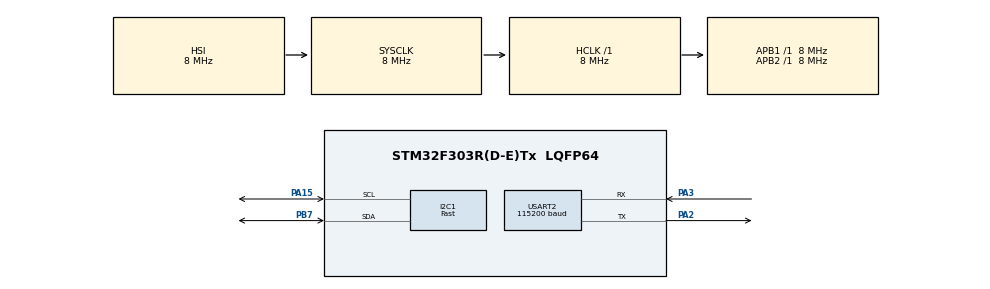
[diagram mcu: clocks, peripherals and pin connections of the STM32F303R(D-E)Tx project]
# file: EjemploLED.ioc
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I2C1.I2C_Speed_Mode=I2C_Fast
I2C1.Timing=0x0000020B
Mcu.Family=STM32F3
Mcu.Name=STM32F303R(D-E)Tx
Mcu.Package=LQFP64
NVIC.PriorityGroup=NVIC_PRIORITYGROUP_4
PA13.Mode=Serial_Wire
PA13.Signal=SYS_JTMS-SWDIO
PA14.Mode=Serial_Wire
PA14.Signal=SYS_JTCK-SWCLK
PA15.Mode=I2C
PA15.Signal=I2C1_SCL
PA2.Mode=Asynchronous
PA2.Signal=USART2_TX
PA3.Mode=Asynchronous
PA3.Signal=USART2_RX
PB7.Mode=I2C
PB7.Signal=I2C1_SDA
ProjectManager.HeapSize=0x200
ProjectManager.StackSize=0x400
ProjectManager.TargetToolchain=STM32CubeIDE
RCC.AHBFreq_Value=8000000
RCC.APB1Freq_Value=8000000
RCC.APB2Freq_Value=8000000
RCC.CortexFreq_Value=8000000
RCC.HSE_VALUE=8000000
RCC.HSI_VALUE=8000000
RCC.LSE_VALUE=32768
RCC.SYSCLKFreq_VALUE=8000000
RCC.USBFreq_Value=16000000
TIM1.Period=400
TIM1.Prescaler=0
USART2.BaudRate=115200
USART2.VirtualMode-Asynchronous=VM_ASYNC
VP_TIM1_VS_ClockSourceINT.Mode=Internal
board=custom

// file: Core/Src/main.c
/* USER CODE BEGIN Header */
/**
  ******************************************************************************
  * @file           : main.c
  * @brief          : Main program body
  ******************************************************************************
  * @attention
  *
  * <h2><center>&copy; Copyright (c) 2020 STMicroelectronics.
  * All rights reserved.</center></h2>
  *
  * This software component is licensed by ST under BSD 3-Clause license,
  * the "License"; You may not use this file except in compliance with the
  * License. You may obtain a copy of the License at:
  *                        opensource.org/licenses/BSD-3-Clause
  *
  ******************************************************************************
  */
/* USER CODE END Header */
#include "main.h"

/* USER CODE BEGIN Includes */
#include "TJ_MPU6050.h"
#include "MadgwickAHRS.h"
/* USER CODE END Includes */

/* USER CODE BEGIN PTD */
typedef struct information2send{
	uint32_t sync;
	float ax;
	float ay;
	float az;
	float gx;
	float gy;
	float gz;
	float q0;
	float q1;
	float q2;
	float q3;
}information2send;
/* USER CODE END PTD */

/* USER CODE BEGIN PD */
#define DATA_SIZE 44
/* USER CODE END PD */

I2C_HandleTypeDef hi2c1;

TIM_HandleTypeDef htim1;

UART_HandleTypeDef huart2;

void SystemClock_Config(void);
static void MX_GPIO_Init(void);
static void MX_TIM1_Init(void);
static void MX_I2C1_Init(void);
static void MX_USART2_UART_Init(void);

/* USER CODE BEGIN 0 */
RawData_Def myAccelRaw, myGyroRaw;
ScaledData_Def myAccelScaled, myGyroScaled;
/* USER CODE END 0 */

int main(void)
{
  /* USER CODE BEGIN 1 */
	MPU_ConfigTypeDef myMpuConfig;
	information2send data2send;
  /* USER CODE END 1 */

  /* MCU Configuration--------------------------------------------------------*/

  /* Reset of all peripherals, Initializes the Flash interface and the Systick. */
  HAL_Init();

  /* Configure the system clock */
  SystemClock_Config();

  /* Initialize all configured peripherals */
  MX_GPIO_Init();
  MX_TIM1_Init();
  MX_I2C1_Init();
  MX_USART2_UART_Init();
  /* USER CODE BEGIN 2 */
	//1. Initialize the MPU6500 module and I2C
	MPU6050_Init(&hi2c1);
	//2. Configure Accel and Gyro parameters
	myMpuConfig.Accel_Full_Scale = AFS_SEL_4g;
	myMpuConfig.ClockSource = Internal_8MHz;
	myMpuConfig.CONFIG_DLPF = DLPF_184A_188G_Hz;
	myMpuConfig.Gyro_Full_Scale = FS_SEL_500;
	myMpuConfig.Sleep_Mode_Bit = 0;  //1: sleep mode, 0: normal mode
	MPU6050_Config(&myMpuConfig);

	//3. Estaban corridos el x e y - Calibracion acelerometro
	_Accel_Cali(900.0, 900.0, -1000.0, -1000.0, 0.0, 0.0);
  /* USER CODE END 2 */

  /* Infinite loop */
  while(1)
  {

    /* USER CODE BEGIN 3 */
	//1. Scaled data adquisition
	MPU6050_Get_Accel_Cali(&myAccelScaled);
	MPU6050_Get_Gyro_Scale(&myGyroScaled);

	//2. Save into structure for send
	data2send.ax = myAccelScaled.x;
	data2send.ay = myAccelScaled.y;
	data2send.az = myAccelScaled.z;

	//3. Adjust gyro data from degree to rad
	data2send.gx = (3.1416)*myGyroScaled.x/180.0;
	data2send.gy = (3.1416)*myGyroScaled.y/180.0;
	data2send.gz = (3.1416)*myGyroScaled.z/180.0;

	//4. Calculate quaternions from measured data
	MadgwickAHRSupdateIMU(data2send.gx,data2send.gy,data2send.gz,
			myAccelScaled.x,myAccelScaled.y,myAccelScaled.z);

	data2send.q0 = q0;
	data2send.q1 = q1;
	data2send.q2 = q2;
	data2send.q3 = q3;

	//5. Send data to PC
	sendData2PC(&data2send);

	//6. Loop delay
	HAL_Delay(5);
  }
  /* USER CODE END 3 */
}

void SystemClock_Config(void)
{
  RCC_OscInitTypeDef RCC_OscInitStruct = {0};
  RCC_ClkInitTypeDef RCC_ClkInitStruct = {0};
  RCC_PeriphCLKInitTypeDef PeriphClkInit = {0};

  /** Initializes the RCC Oscillators according to the specified parameters
  * in the RCC_OscInitTypeDef structure.
  */
  RCC_OscInitStruct.OscillatorType = RCC_OSCILLATORTYPE_HSI;
  RCC_OscInitStruct.HSIState = RCC_HSI_ON;
  RCC_OscInitStruct.HSICalibrationValue = RCC_HSICALIBRATION_DEFAULT;
  RCC_OscInitStruct.PLL.PLLState = RCC_PLL_NONE;
  if (HAL_RCC_OscConfig(&RCC_OscInitStruct) != HAL_OK)
  {
    Error_Handler();
  }
  /** Initializes the CPU, AHB and APB buses clocks
  */
  RCC_ClkInitStruct.ClockType = RCC_CLOCKTYPE_HCLK|RCC_CLOCKTYPE_SYSCLK
                              |RCC_CLOCKTYPE_PCLK1|RCC_CLOCKTYPE_PCLK2;
  RCC_ClkInitStruct.SYSCLKSource = RCC_SYSCLKSOURCE_HSI;
  RCC_ClkInitStruct.AHBCLKDivider = RCC_SYSCLK_DIV1;
  RCC_ClkInitStruct.APB1CLKDivider = RCC_HCLK_DIV1;
  RCC_ClkInitStruct.APB2CLKDivider = RCC_HCLK_DIV1;

  if (HAL_RCC_ClockConfig(&RCC_ClkInitStruct, FLASH_LATENCY_0) != HAL_OK)
  {
    Error_Handler();
  }
  PeriphClkInit.PeriphClockSelection = RCC_PERIPHCLK_USART2|RCC_PERIPHCLK_I2C1
                              |RCC_PERIPHCLK_TIM1;
  PeriphClkInit.Usart2ClockSelection = RCC_USART2CLKSOURCE_PCLK1;
  PeriphClkInit.I2c1ClockSelection = RCC_I2C1CLKSOURCE_HSI;
  PeriphClkInit.Tim1ClockSelection = RCC_TIM1CLK_HCLK;
  if (HAL_RCCEx_PeriphCLKConfig(&PeriphClkInit) != HAL_OK)
  {
    Error_Handler();
  }
}

static void MX_I2C1_Init(void)
{

  hi2c1.Instance = I2C1;
  hi2c1.Init.Timing = 0x0000020B;
  hi2c1.Init.OwnAddress1 = 0;
  hi2c1.Init.AddressingMode = I2C_ADDRESSINGMODE_7BIT;
  hi2c1.Init.DualAddressMode = I2C_DUALADDRESS_DISABLE;
  hi2c1.Init.OwnAddress2 = 0;
  hi2c1.Init.OwnAddress2Masks = I2C_OA2_NOMASK;
  hi2c1.Init.GeneralCallMode = I2C_GENERALCALL_DISABLE;
  hi2c1.Init.NoStretchMode = I2C_NOSTRETCH_DISABLE;
  if (HAL_I2C_Init(&hi2c1) != HAL_OK)
  {
    Error_Handler();
  }
  /** Configure Analogue filter
  */
  if (HAL_I2CEx_ConfigAnalogFilter(&hi2c1, I2C_ANALOGFILTER_ENABLE) != HAL_OK)
  {
    Error_Handler();
  }
  /** Configure Digital filter
  */
  if (HAL_I2CEx_ConfigDigitalFilter(&hi2c1, 0) != HAL_OK)
  {
    Error_Handler();
  }

}

static void MX_TIM1_Init(void)
{

  TIM_ClockConfigTypeDef sClockSourceConfig = {0};
  TIM_MasterConfigTypeDef sMasterConfig = {0};

  htim1.Instance = TIM1;
  htim1.Init.Prescaler = 0;
  htim1.Init.CounterMode = TIM_COUNTERMODE_UP;
  htim1.Init.Period = 400;
  htim1.Init.ClockDivision = TIM_CLOCKDIVISION_DIV1;
  htim1.Init.RepetitionCounter = 0;
  htim1.Init.AutoReloadPreload = TIM_AUTORELOAD_PRELOAD_DISABLE;
  if (HAL_TIM_Base_Init(&htim1) != HAL_OK)
  {
    Error_Handler();
  }
  sClockSourceConfig.ClockSource = TIM_CLOCKSOURCE_INTERNAL;
  if (HAL_TIM_ConfigClockSource(&htim1, &sClockSourceConfig) != HAL_OK)
  {
    Error_Handler();
  }
  sMasterConfig.MasterOutputTrigger = TIM_TRGO_RESET;
  sMasterConfig.MasterOutputTrigger2 = TIM_TRGO2_RESET;
  sMasterConfig.MasterSlaveMode = TIM_MASTERSLAVEMODE_DISABLE;
  if (HAL_TIMEx_MasterConfigSynchronization(&htim1, &sMasterConfig) != HAL_OK)
  {
    Error_Handler();
  }

}

static void MX_USART2_UART_Init(void)
{

  huart2.Instance = USART2;
  huart2.Init.BaudRate = 115200;
  huart2.Init.WordLength = UART_WORDLENGTH_8B;
  huart2.Init.StopBits = UART_STOPBITS_1;
  huart2.Init.Parity = UART_PARITY_NONE;
  huart2.Init.Mode = UART_MODE_TX_RX;
  huart2.Init.HwFlowCtl = UART_HWCONTROL_NONE;
  huart2.Init.OverSampling = UART_OVERSAMPLING_16;
  huart2.Init.OneBitSampling = UART_ONE_BIT_SAMPLE_DISABLE;
  huart2.AdvancedInit.AdvFeatureInit = UART_ADVFEATURE_NO_INIT;
  if (HAL_UART_Init(&huart2) != HAL_OK)
  {
    Error_Handler();
  }

}

static void MX_GPIO_Init(void)
{

  /* GPIO Ports Clock Enable */
  __HAL_RCC_GPIOA_CLK_ENABLE();
  __HAL_RCC_GPIOB_CLK_ENABLE();

}

/* USER CODE BEGIN 4 */
void sendData2PC(information2send * data){
	data->sync = 0xffffffff;
	HAL_UART_Transmit(&huart2, (uint8_t *)data, DATA_SIZE, 10);
}
/* USER CODE END 4 */

void Error_Handler(void)
{
}

/************************ (C) COPYRIGHT STMicroelectronics *****END OF FILE****/
